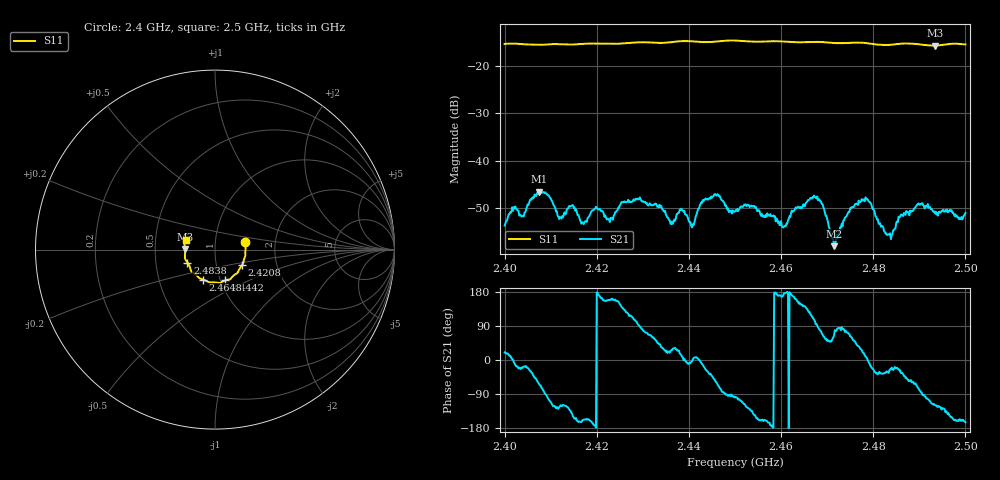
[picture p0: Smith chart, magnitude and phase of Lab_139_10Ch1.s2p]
# Hz S RI R 50
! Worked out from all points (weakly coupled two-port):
!   601 points, 2.4 GHz to 2.5 GHz, reference 50 ohm
!   highest |S21| = -46.63 dB at 2.4075 GHz (marker M1); lowest = -58.2 dB at 2.4715 GHz (marker M2)
!   lowest |S11| = -15.6 dB at 2.4935 GHz (marker M3), VSWR 1.40, Z = 35.8 + j0.205 ohm
!   |S11| at or under -10 dB: start of sweep to end of sweep
!   S12 and S22 are empty: the file has one direction only
!   S11 on the Smith chart (normalised r, x): 2.4 GHz: 1.40, +0.12; 2.4208 GHz: 1.33, -0.24; 2.4442 GHz: 1.05, -0.37; 2.4648 GHz: 0.83, -0.29; 2.4838 GHz: 0.73, -0.11; 2.5 GHz: 0.72, +0.08
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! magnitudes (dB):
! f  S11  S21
! 2.4 GHz  -15.3  -53.8
! 2.4075 GHz  -15.4  -46.6
! 2.412 GHz  -15.3  -52.0
! 2.4145 GHz  -15.4  -49.6
! 2.4167 GHz  -15.2  -53.4
! 2.4208 GHz  -15.2  -50.6
! 2.4333 GHz  -15.0  -49.5
! 2.4407 GHz  -14.7  -54.2
! 2.4442 GHz  -14.9  -48.3
! 2.45 GHz  -14.5  -50.8
! 2.454 GHz  -14.8  -49.6
! 2.4607 GHz  -14.7  -54.0
! 2.4648 GHz  -14.9  -49.3
! 2.4667 GHz  -14.8  -48.1
! 2.4688 GHz  -14.8  -49.2
! 2.4715 GHz  -15.0  -58.2
! 2.4783 GHz  -15.1  -47.8
! 2.4833 GHz  -15.5  -55.6
! 2.4838 GHz  -15.4  -56.7
! 2.49 GHz  -15.3  -49.3
! 2.4935 GHz  -15.6  -51.3
! 2.5 GHz  -15.4  -51.1
